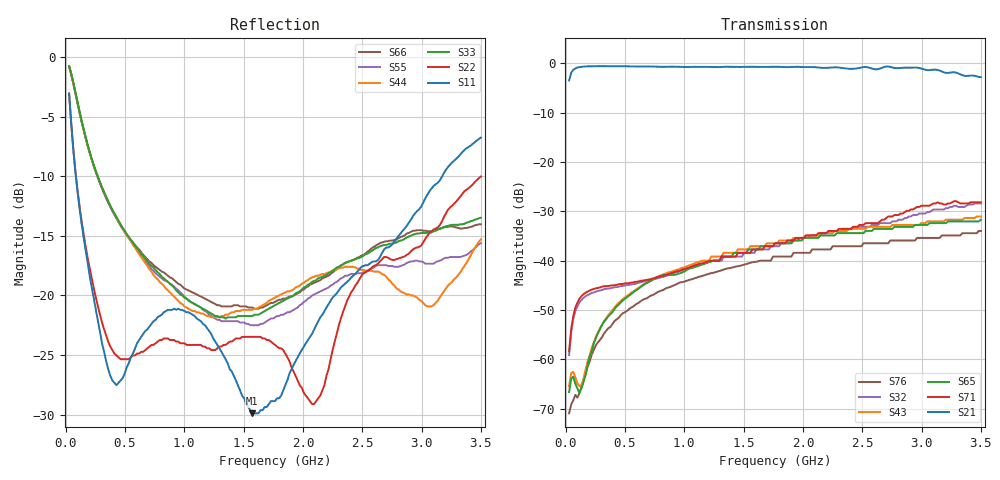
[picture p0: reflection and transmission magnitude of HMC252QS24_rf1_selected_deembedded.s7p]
!Hittite Microwave Corporation
!12 Elizabeth Drive
!Chelmsford, MA 01824
!Tel: 978-250-3343
!Fax: 978-250-3373
!Device: HMC252QS24, DC-3 GHz GaAS MMIC SP6T Non-Reflective Switch in 24-lead QSOP package
!Misc: Port 1 = RFCom, Port 2 = RF1, Port 3 = RF2, Port 4 = RF3, Port 5 = RF4, Port 6 = RF5, Port 7 = RF6, RF1 selected, Vdd=+5V
# MHZ S MA R 50
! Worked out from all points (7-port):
!   201 points, 30 MHz to 3.5 GHz, reference 50 ohm
!   strongest paths, dB at 30 MHz, 897.5 MHz, 1.765 GHz, 2.632 GHz, 3.5 GHz:
!     S21: -3.5, -0.7, -0.7, -1.2, -2.8
!     S71: -58.3, -42.5, -36.5, -32.4, -28.2
!     S65: -66.6, -42.9, -36.5, -33.6, -31.7
!     S43: -65.4, -42.2, -36.5, -33.2, -31.1
!     S32: -59.1, -42.6, -37.1, -32.8, -28.4
!     S76: -70.9, -45.2, -39.2, -36.5, -34.0
!   lowest |S11| = -29.9 dB at 1.574 GHz (marker M1), VSWR 1.07, Z = 46.9 - j0.434 ohm
!   |S11| at or under -10 dB: 86.92 MHz to 3.174 GHz (3.087 GHz wide, 189 % of centre)
